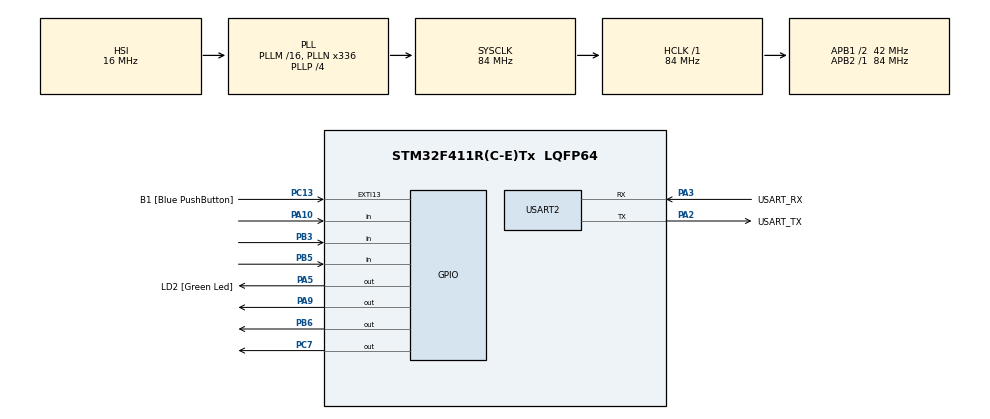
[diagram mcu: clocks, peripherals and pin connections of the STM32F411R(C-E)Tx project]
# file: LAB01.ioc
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Mcu.Family=STM32F4
Mcu.Name=STM32F411R(C-E)Tx
Mcu.Package=LQFP64
NVIC.PriorityGroup=NVIC_PRIORITYGROUP_0
PA10.Signal=GPIO_Input
PA13.GPIO_Label=TMS
PA13.Mode=Serial_Wire
PA13.Signal=SYS_JTMS-SWDIO
PA14.GPIO_Label=TCK
PA14.Mode=Serial_Wire
PA14.Signal=SYS_JTCK-SWCLK
PA2.GPIO_Label=USART_TX
PA2.Mode=Asynchronous
PA2.Signal=USART2_TX
PA3.GPIO_Label=USART_RX
PA3.Mode=Asynchronous
PA3.Signal=USART2_RX
PA5.GPIO_Label=LD2 [Green Led]
PA5.Signal=GPIO_Output
PA9.Signal=GPIO_Output
PB3.Signal=GPIO_Input
PB5.Signal=GPIO_Input
PB6.Signal=GPIO_Output
PC13-ANTI_TAMP.GPIO_Label=B1 [Blue PushButton]
PC13-ANTI_TAMP.GPIO_ModeDefaultEXTI=GPIO_MODE_IT_FALLING
PC13-ANTI_TAMP.Signal=GPXTI13
PC14-OSC32_IN.Mode=LSE-External-Oscillator
PC14-OSC32_IN.Signal=RCC_OSC32_IN
PC15-OSC32_OUT.Mode=LSE-External-Oscillator
PC15-OSC32_OUT.Signal=RCC_OSC32_OUT
PC7.Signal=GPIO_Output
PH0\ -\ OSC_IN.Mode=HSE-External-Clock-Source
PH0\ -\ OSC_IN.Signal=RCC_OSC_IN
PH1\ -\ OSC_OUT.Mode=HSE-External-Clock-Source
PH1\ -\ OSC_OUT.Signal=RCC_OSC_OUT
ProjectManager.HeapSize=0x200
ProjectManager.StackSize=0x400
ProjectManager.TargetToolchain=STM32CubeIDE
RCC.48MHZClocksFreq_Value=84000000
RCC.AHBFreq_Value=84000000
RCC.APB1CLKDivider=RCC_HCLK_DIV2
RCC.APB1Freq_Value=42000000
RCC.APB1TimFreq_Value=84000000
RCC.APB2Freq_Value=84000000
RCC.APB2TimFreq_Value=84000000
RCC.CortexFreq_Value=84000000
RCC.FLatency-AdvancedSettings=FLASH_LATENCY_2
RCC.HCLKFreq_Value=84000000
RCC.HSE_VALUE=8000000
RCC.HSI_VALUE=16000000
RCC.PLLN=336
RCC.PLLP=RCC_PLLP_DIV4
RCC.SYSCLKFreq_VALUE=84000000
RCC.SYSCLKSource=RCC_SYSCLKSOURCE_PLLCLK
RCC.VCOOutputFreq_Value=336000000
USART2.VirtualMode=VM_ASYNC
board=NUCLEO-F411RE

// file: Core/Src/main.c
/* USER CODE BEGIN Header */
/**
 ******************************************************************************
 * @file           : main.c
 * @brief          : Main program body
 ******************************************************************************
 * @attention
 *
 * <h2><center>&copy; Copyright (c) 2021 STMicroelectronics.
 * All rights reserved.</center></h2>
 *
 * This software component is licensed by ST under BSD 3-Clause license,
 * the "License"; You may not use this file except in compliance with the
 * License. You may obtain a copy of the License at:
 *                        opensource.org/licenses/BSD-3-Clause
 *
 ******************************************************************************
 */
/* USER CODE END Header */
#include "main.h"

UART_HandleTypeDef huart2;

void SystemClock_Config(void);
static void MX_GPIO_Init(void);
static void MX_USART2_UART_Init(void);

int main(void) {

	/* MCU Configuration--------------------------------------------------------*/

	/* Reset of all peripherals, Initializes the Flash interface and the Systick. */
	HAL_Init();

	/* Configure the system clock */
	SystemClock_Config();

	/* Initialize all configured peripherals */
	MX_GPIO_Init();
	MX_USART2_UART_Init();
	/* USER CODE BEGIN 2 */
	GPIO_PinState Switch1[2];
	GPIO_PinState Switch2[2];
	GPIO_PinState Switch3[2];
	uint32_t Time = 0;
	uint32_t Time1 = 0;
	uint32_t Time2 = 0;
	uint32_t Delay = 1000;
	uint32_t Delay2 = 500;
	uint32_t Delay3 = 1500;
	/* USER CODE END 2 */

	/* Infinite loop */
	while (1) {

		/* USER CODE BEGIN 3 */
		Switch1[0] = HAL_GPIO_ReadPin(GPIOA, GPIO_PIN_10);
		Switch2[0] = HAL_GPIO_ReadPin(GPIOB, GPIO_PIN_3);
		Switch3[0] = HAL_GPIO_ReadPin(GPIOB, GPIO_PIN_5);
		if (HAL_GetTick() - Time2 >= 100) {
			Time2 = HAL_GetTick();
			if (Switch1[1] == 1 && Switch1[0] == 0) {
				if (Delay == 1000) {
					Delay = 500;
				} else if (Delay == 500) {
					Delay = 250;
				} else if (Delay == 250) {
					Delay = 166;
				} else {
					Delay = 1000;
				}
			}
			Switch1[1] = Switch1[0];
			if (Switch2[1] == 1 && Switch2[0] == 0) {
				if (HAL_GPIO_ReadPin(GPIOC, GPIO_PIN_7) == 1) {
					HAL_GPIO_WritePin(GPIOC, GPIO_PIN_7, 0);
				} else {
					HAL_GPIO_WritePin(GPIOC, GPIO_PIN_7, 1);
				}
			}
			Switch2[1] = Switch2[0];
			if (Switch3[1] == 1 && Switch3[0] == 0) {
				if (Delay2 == 500 && Delay3 == 1500) {
					Delay2 = 1500;
					Delay3 = 500;
				} else {
					Delay2 = 500;
					Delay3 = 1500;
				}
			}
			Switch3[1] = Switch3[0];
			if (HAL_GetTick() - Time >= Delay) {
				Time = HAL_GetTick();
				if (HAL_GPIO_ReadPin(GPIOA, GPIO_PIN_9) == 1) {
					HAL_GPIO_WritePin(GPIOA, GPIO_PIN_9, 0);
				} else {
					HAL_GPIO_WritePin(GPIOA, GPIO_PIN_9, 1);
				}
			}
			if (HAL_GetTick() - Time1 >= Delay2
					&& HAL_GPIO_ReadPin(GPIOB, GPIO_PIN_6) == 1) {
				Time1 = HAL_GetTick();
				HAL_GPIO_WritePin(GPIOB, GPIO_PIN_6, 0);
			} else if (HAL_GetTick() - Time1 >= Delay3
					&& HAL_GPIO_ReadPin(GPIOB, GPIO_PIN_6) == 0) {
				Time1 = HAL_GetTick();
				HAL_GPIO_WritePin(GPIOB, GPIO_PIN_6, 1);
			}
		}

	}
	/* USER CODE END 3 */
}

void SystemClock_Config(void) {
	RCC_OscInitTypeDef RCC_OscInitStruct = { 0 };
	RCC_ClkInitTypeDef RCC_ClkInitStruct = { 0 };

	/** Configure the main internal regulator output voltage
	 */
	__HAL_RCC_PWR_CLK_ENABLE();
	__HAL_PWR_VOLTAGESCALING_CONFIG(PWR_REGULATOR_VOLTAGE_SCALE1);
	/** Initializes the RCC Oscillators according to the specified parameters
	 * in the RCC_OscInitTypeDef structure.
	 */
	RCC_OscInitStruct.OscillatorType = RCC_OSCILLATORTYPE_HSI;
	RCC_OscInitStruct.HSIState = RCC_HSI_ON;
	RCC_OscInitStruct.HSICalibrationValue = RCC_HSICALIBRATION_DEFAULT;
	RCC_OscInitStruct.PLL.PLLState = RCC_PLL_ON;
	RCC_OscInitStruct.PLL.PLLSource = RCC_PLLSOURCE_HSI;
	RCC_OscInitStruct.PLL.PLLM = 16;
	RCC_OscInitStruct.PLL.PLLN = 336;
	RCC_OscInitStruct.PLL.PLLP = RCC_PLLP_DIV4;
	RCC_OscInitStruct.PLL.PLLQ = 4;
	if (HAL_RCC_OscConfig(&RCC_OscInitStruct) != HAL_OK) {
		Error_Handler();
	}
	/** Initializes the CPU, AHB and APB buses clocks
	 */
	RCC_ClkInitStruct.ClockType = RCC_CLOCKTYPE_HCLK | RCC_CLOCKTYPE_SYSCLK
			| RCC_CLOCKTYPE_PCLK1 | RCC_CLOCKTYPE_PCLK2;
	RCC_ClkInitStruct.SYSCLKSource = RCC_SYSCLKSOURCE_PLLCLK;
	RCC_ClkInitStruct.AHBCLKDivider = RCC_SYSCLK_DIV1;
	RCC_ClkInitStruct.APB1CLKDivider = RCC_HCLK_DIV2;
	RCC_ClkInitStruct.APB2CLKDivider = RCC_HCLK_DIV1;

	if (HAL_RCC_ClockConfig(&RCC_ClkInitStruct, FLASH_LATENCY_2) != HAL_OK) {
		Error_Handler();
	}
}

static void MX_USART2_UART_Init(void) {

	huart2.Instance = USART2;
	huart2.Init.BaudRate = 115200;
	huart2.Init.WordLength = UART_WORDLENGTH_8B;
	huart2.Init.StopBits = UART_STOPBITS_1;
	huart2.Init.Parity = UART_PARITY_NONE;
	huart2.Init.Mode = UART_MODE_TX_RX;
	huart2.Init.HwFlowCtl = UART_HWCONTROL_NONE;
	huart2.Init.OverSampling = UART_OVERSAMPLING_16;
	if (HAL_UART_Init(&huart2) != HAL_OK) {
		Error_Handler();
	}

}

static void MX_GPIO_Init(void) {
	GPIO_InitTypeDef GPIO_InitStruct = { 0 };

	/* GPIO Ports Clock Enable */
	__HAL_RCC_GPIOC_CLK_ENABLE();
	__HAL_RCC_GPIOH_CLK_ENABLE();
	__HAL_RCC_GPIOA_CLK_ENABLE();
	__HAL_RCC_GPIOB_CLK_ENABLE();

	/*Configure GPIO pin Output Level */
	HAL_GPIO_WritePin(GPIOA, LD2_Pin | GPIO_PIN_9, GPIO_PIN_RESET);

	/*Configure GPIO pin Output Level */
	HAL_GPIO_WritePin(GPIOC, GPIO_PIN_7, GPIO_PIN_RESET);

	/*Configure GPIO pin Output Level */
	HAL_GPIO_WritePin(GPIOB, GPIO_PIN_6, GPIO_PIN_RESET);

	/*Configure GPIO pin : B1_Pin */
	GPIO_InitStruct.Pin = B1_Pin;
	GPIO_InitStruct.Mode = GPIO_MODE_IT_FALLING;
	GPIO_InitStruct.Pull = GPIO_NOPULL;
	HAL_GPIO_Init(B1_GPIO_Port, &GPIO_InitStruct);

	/*Configure GPIO pins : LD2_Pin PA9 */
	GPIO_InitStruct.Pin = LD2_Pin | GPIO_PIN_9;
	GPIO_InitStruct.Mode = GPIO_MODE_OUTPUT_PP;
	GPIO_InitStruct.Pull = GPIO_NOPULL;
	GPIO_InitStruct.Speed = GPIO_SPEED_FREQ_LOW;
	HAL_GPIO_Init(GPIOA, &GPIO_InitStruct);

	/*Configure GPIO pin : PC7 */
	GPIO_InitStruct.Pin = GPIO_PIN_7;
	GPIO_InitStruct.Mode = GPIO_MODE_OUTPUT_PP;
	GPIO_InitStruct.Pull = GPIO_NOPULL;
	GPIO_InitStruct.Speed = GPIO_SPEED_FREQ_LOW;
	HAL_GPIO_Init(GPIOC, &GPIO_InitStruct);

	/*Configure GPIO pin : PA10 */
	GPIO_InitStruct.Pin = GPIO_PIN_10;
	GPIO_InitStruct.Mode = GPIO_MODE_INPUT;
	GPIO_InitStruct.Pull = GPIO_NOPULL;
	HAL_GPIO_Init(GPIOA, &GPIO_InitStruct);

	/*Configure GPIO pins : PB3 PB5 */
	GPIO_InitStruct.Pin = GPIO_PIN_3 | GPIO_PIN_5;
	GPIO_InitStruct.Mode = GPIO_MODE_INPUT;
	GPIO_InitStruct.Pull = GPIO_NOPULL;
	HAL_GPIO_Init(GPIOB, &GPIO_InitStruct);

	/*Configure GPIO pin : PB6 */
	GPIO_InitStruct.Pin = GPIO_PIN_6;
	GPIO_InitStruct.Mode = GPIO_MODE_OUTPUT_PP;
	GPIO_InitStruct.Pull = GPIO_NOPULL;
	GPIO_InitStruct.Speed = GPIO_SPEED_FREQ_LOW;
	HAL_GPIO_Init(GPIOB, &GPIO_InitStruct);

}

void Error_Handler(void) {
	__disable_irq();
	while (1) {
	}
}

/************************ (C) COPYRIGHT STMicroelectronics *****END OF FILE****/
